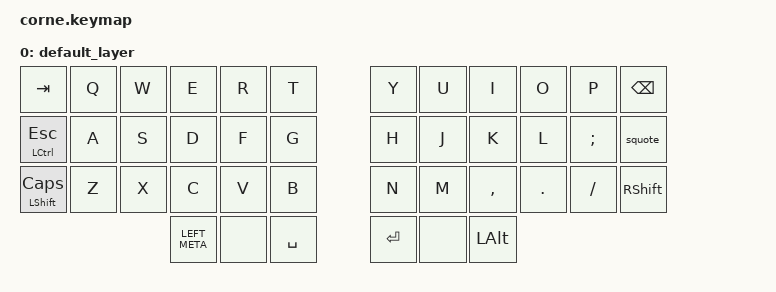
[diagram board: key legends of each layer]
#include <behaviors.dtsi>
#include <dt-bindings/zmk/keys.h>

/ {

  behaviors {
    squote: single_double_quote {
      compatible = "zmk,behavior-mod-morph";
      #binding-cells = <0>;
      bindings = <&kp SINGLE_QUOTE>, <&kp DOUBLE_QUOTES>;
      mods = <(MOD_LSFT|MOD_RSFT)>;
    };

     backspace: backspace_delete {
      compatible = "zmk,behavior-mod-morph";
      #binding-cells = <0>;
      bindings = <&kp BACKSPACE>, <&kp DELETE>;
      mods = <(MOD_LSFT|MOD_RSFT)>;
    };
  };

  keymap {
    compatible = "zmk,keymap";

    // ╭────┬────┬────┬────┬────┬────╮ ╭────┬────┬────┬────┬────┬────╮
    // │ 01 │ 02 │ 03 │ 04 │ 05 │ 06 │ │ 07 │ 08 │ 09 │ 10 │ 11 │ 12 │
    // ├────┼────┼────┼────┼────┼────┤ ├────┼────┼────┼────┼────┼────┤
    // │ 13 │ 14 │ 15 │ 16 │ 17 │ 18 │ │ 19 │ 20 │ 21 │ 22 │ 23 │ 24 │
    // ├────┼────┼────┼────┼────┼────┤ ├────┼────┼────┼────┼────┼────┤
    // │ 25 │ 26 │ 27 │ 28 │ 29 │ 30 │ │ 31 │ 32 │ 33 │ 34 │ 35 │ 36 │
    // ╰────┴────┴────┼────┼────┼────┤ ├────┼────┼────┼────┴────┴────╯
    //                │ 37 │ 38 │ 39 │ │ 40 │ 41 │ 42 │
    //                ╰────┴────┴────╯ ╰────┴────┴────╯

    default_layer {
      bindings = <
        // ╭─────────────────────────┬───────┬───────┬───────┬───────┬───────╮ ╭───────┬───────┬───────────┬────────────┬───────────────┬──────────────────╮
             &kp TAB                   &kp Q   &kp W   &kp E   &kp R   &kp T     &kp Y   &kp U   &kp I       &kp O        &kp P           &kp BACKSPACE
        // ├─────────────────────────┼───────┼───────┼───────┼───────┼───────┤ ├───────┼───────┼───────────┼────────────┼───────────────┼──────────────────┤
             &mt LEFT_CONTROL ESCAPE   &kp A   &kp S   &kp D   &kp F   &kp G     &kp H   &kp J   &kp K       &kp L        &kp SEMICOLON   &squote
        // ├─────────────────────────┼───────┼───────┼───────┼───────┼───────┤ ├───────┼───────┼───────────┼────────────┼───────────────┼──────────────────┤
             &mt LEFT_SHIFT CAPSLOCK   &kp Z   &kp X   &kp C   &kp V   &kp B     &kp N   &kp M   &kp COMMA   &kp PERIOD   &kp SLASH       &kp RIGHT_SHIFT
        // ╰─────────────────────────┴───┬───┴───────┴───┬───┴───┬───┴───────┤ ├───────┴───┬───┴───┬───────┴──────┬─────┴───────────────┴──────────────────╯
                                           &kp LEFT_META   &none   &kp SPACE     &kp ENTER   &none   &kp LEFT_ALT
        //                               ╰───────────────┴───────┴───────────╯ ╰───────────┴───────┴──────────────╯
      >;
    };
  };
};
